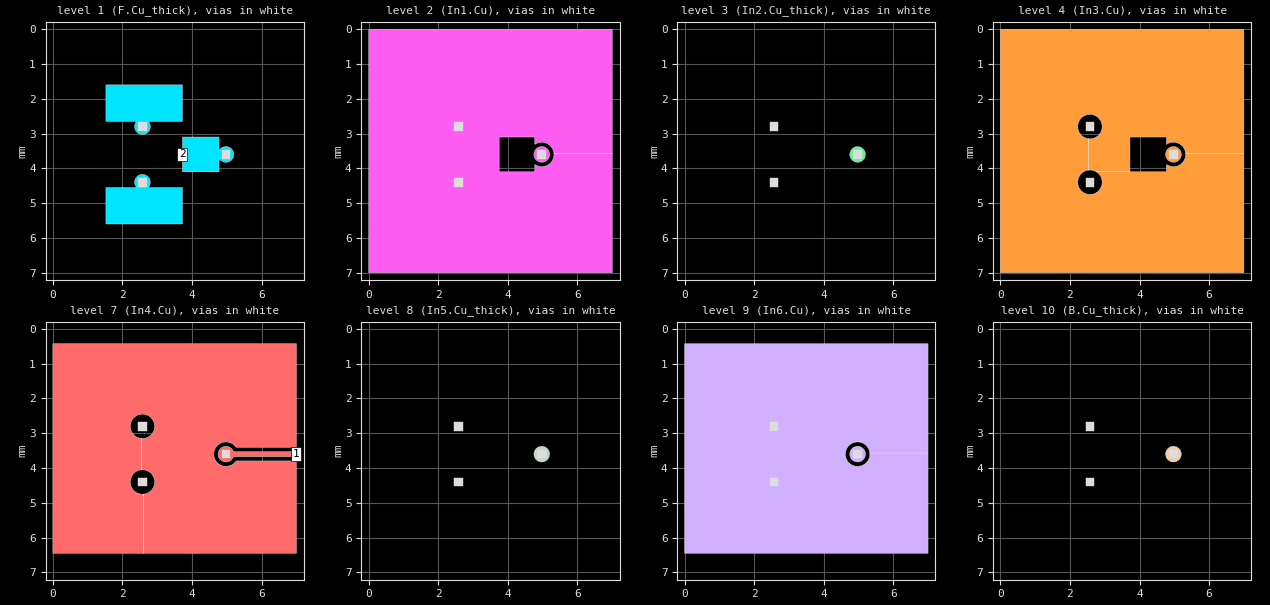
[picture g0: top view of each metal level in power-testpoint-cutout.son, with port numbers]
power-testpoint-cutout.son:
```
FTYP SONPROJ 19 ! Sonnet Project File
VER 18.52
HEADER
LIC antikernel2.1.51176
DAT 02/19/2022 08:50:57
BUILT_BY_CREATED dxf 18.52 12/15/2021 18:24:32
BUILT_BY_SAVED sonnet 18.52
MDATE 02/19/2022 08:32:56
HDATE 02/19/2022 08:32:56
ANN Created by dxfgeo, Sonnet Software Inc.
ANN 
ANN sma-gtx-cropped_gk:
ANN 
ANN replaced single 100000 pF ideal capacitor with two 50000 pf capacitors at the outer edges of the pads
ANN had to add 1 cell polygons to pads on F.Cu_thick ayer to attach the components
ANN had to add 2-cell polygons to ground on In1.Cu layer to attach the grounds to
ANN component port cal standards at defaul
ANN changed port 1 and port to cal standards to default
ANN 
ANN _gk2:
ANN 
ANN removed ideal components and 1-cell and 2-cell polygons
ANN defined new SheetCap Tech layer and metal type,with Xdc set to variable Xcap
ANN Xcap is an equation defined to produce the reactance of a 100000 pF capacitor
ANN 
ANN 
ANN 
END HEADER
DIM
ANG DEG
CAP PF
CON /OH
FREQ GHZ
IND NH
LNG MM
RES OH
END DIM
CONTROL
VARSWP
OPTIONS  -dj
SPEED 1
CACHE_ABS 2
Q_ACC N
END CONTROL
GEO
TMET "Free Space" 0 FREESPACE 376.7303136 0 0 0
BMET "Lossless" 0 SUP 0 0 0 0
MET "Copper_1oz_thin" 1 NOR 58000000 0.5 0.035 
MET "Copper_1oz_thick" 2 TMM 58000000 0.5 0.035 2
MET "Copper_0.5oz_thin" 4 NOR 58000000 0.5 0.017 
MET "Copper_0.5oz_thick" 12 TMM 58000000 0.5 0.017 2
MET "Copper_0.5oz_thick_down" 5 TMM 58000000 0.5 0.017 2 CDVY TDWN
MET "Copper_1oz_thick_down" 3 TMM 58000000 0.5 0.035 2 CDVY TDWN
MET "SheetCap" 25 SUP 0 0 "Xcap" 0
BOX 12 7 7 560 560 20 0
      5 1 1 0 0 0 0 "Air"
      0.04 3.5 1 0.025 0 0 0 "Soldermask"
      0.075 3.39 1 0.004 0 0 0 "Panasonic_R-5775(G)"
      0.068 3.56 1 0.004 0 0 0 "Panasonic_R-5670(G)"
      0.13 3.39 1 0.004 0 0 0 "Panasonic_R-5775(G)"
      0.092 3.56 1 0.004 0 0 0 "Panasonic_R-5670(G)"
      0.609 3.39 1 0.004 0 0 0 "Panasonic_R-5775(G)"
      0.092 3.56 1 0.004 0 0 0 "Panasonic_R-5670(G)"
      0.13 3.39 1 0.004 0 0 0 "Panasonic_R-5775(G)"
      0.068 3.56 1 0.004 0 0 0 "Panasonic_R-5670(G)"
      0.075 3.39 1 0.004 0 0 0 "Panasonic_R-5775(G)"
      0.04 3.5 1 0.025 0 0 0 "Soldermask"
      5 1 1 0 0 0 0 "Air"
TECHLAY METAL F.Cu_thick L1D0 -2 -65534 CAD F.Cu_thick drawing 
1 0 1 N 23087 1 1 100 100 0 0 0 Y
END
END
TECHLAY VIA Via1 L9D0 -13 -65534 CAD Via1 drawing 
VIA POLYGON
1 0 -1 N 23091 1 1 100 100 0 0 0 Y
TOLEVEL 10 RING NOCOVERS
END
END
TECHLAY METAL F.Cu_thin <UNSPECIFIED> -1 -65534 CAD F.Cu_thin drawing 
1 0 0 N 23093 1 1 100 100 0 0 0 Y
END
END
TECHLAY METAL SheetCap <UNSPECIFIED> -14 -65534 
1 0 6 N 23095 1 1 100 100 0 0 0 Y
END
END
TECHLAY METAL In1.Cu L2D0 -3 -65534 CAD In1.Cu drawing 
2 0 0 N 23098 1 1 100 100 0 0 0 Y
END
END
TECHLAY METAL In2.Cu_thick L3D0 -5 -65534 CAD In2.Cu_thick drawing 
3 0 3 N 23101 1 1 100 100 0 0 0 Y
END
END
TECHLAY METAL In2.Cu_thin <UNSPECIFIED> -4 -65534 CAD In2.Cu drawing 
3 0 2 N 23103 1 1 100 100 0 0 0 Y
END
END
TECHLAY METAL In3.Cu L4D0 -6 -65534 CAD In3.Cu drawing 
4 0 0 N 23106 1 1 100 100 0 0 0 Y
END
END
TECHLAY METAL In4.Cu L5D0 -7 -65534 CAD In4.Cu drawing 
7 0 0 N 23111 1 1 100 100 0 0 0 Y
END
END
TECHLAY METAL In5.Cu_thick L6D0 -9 -65534 CAD In5.Cu_thick drawing 
8 0 4 N 23115 1 1 100 100 0 0 0 Y
END
END
TECHLAY METAL In5.Cu_thin <UNSPECIFIED> -8 -65534 CAD In5.Cu drawing 
8 0 2 N 23117 1 1 100 100 0 0 0 Y
END
END
TECHLAY METAL In6.Cu L7D0 -10 -65534 CAD In6.Cu drawing 
9 0 0 N 23120 1 1 100 100 0 0 0 Y
END
END
TECHLAY METAL B.Cu_thick L8D0 -12 -65534 CAD B.Cu_thick drawing 
10 0 5 N 23123 1 1 100 100 0 0 0 Y
END
END
TECHLAY METAL B.Cu_thin <UNSPECIFIED> -11 -65534 CAD B.Cu_thin drawing 
10 0 0 N 23125 1 1 100 100 0 0 0 Y
END
END
VALVAR Xcap NONE "-1/(2*PI*FREQ*1e5*1e-12)" "Reactance of 100000 pF Capacitor"
DIM STD XDIR 1
POS 0.8728070175 -0.1789473684
NOM 1.025
REF1 POLY 23068 1
27
REF2 POLY 23068 1
28
END
DIM STD YDIR 1
POS -0.1096491228 0.65
NOM 1
REF1 POLY 23068 1
27
REF2 POLY 23068 1
26
END
LORGN 0 7 U 
POR1 CUP Auto
GNDREF AUTO
TERMW FEED
POLY 642 1
0
2 50 0 0 0 3.725 3.6 
CUPGRP "Auto" LOCAL
ID 23089
END
POR1 BOX
POLY 22985 1
13
1 50 0 0 0 7 3.6 
NUM 17
1 61 1 N 642 1 1 100 100 0 0 0 Y
TLAYNAM F.Cu_thick INH
USER_DAT FromImport
3.725 4.1
3.725 3.1
4.775 3.1
4.775 3.498
4.782 3.484
4.794 3.466
4.808 3.449
4.824 3.433
4.841 3.419
4.859 3.407
4.879 3.397
4.899 3.388
4.92 3.382
4.942 3.377
4.964 3.375
4.986 3.375
5.008 3.377
5.03 3.382
5.051 3.388
5.071 3.397
5.091 3.407
5.109 3.419
5.126 3.433
5.142 3.449
5.156 3.466
5.168 3.484
5.178 3.504
5.187 3.524
5.193 3.545
5.198 3.567
5.2 3.589
5.2 3.611
5.198 3.633
5.193 3.655
5.187 3.676
5.178 3.696
5.168 3.716
5.156 3.734
5.142 3.751
5.126 3.767
5.109 3.781
5.091 3.793
5.071 3.803
5.051 3.812
5.03 3.818
5.008 3.823
4.986 3.825
4.964 3.825
4.942 3.823
4.92 3.818
4.899 3.812
4.879 3.803
4.859 3.793
4.841 3.781
4.824 3.767
4.808 3.751
4.794 3.734
4.782 3.716
4.775 3.702
4.775 4.1
3.725 4.1
END
1 53 1 N 651 1 1 100 100 0 0 0 Y
TLAYNAM F.Cu_thick INH
USER_DAT FromImport
2.564 3.025
2.542 3.023
2.52 3.018
2.499 3.012
2.479 3.003
2.459 2.993
2.441 2.981
2.424 2.967
2.408 2.951
2.394 2.934
2.382 2.916
2.372 2.896
2.363 2.876
2.357 2.855
2.352 2.833
2.35 2.811
2.35 2.789
2.352 2.767
2.357 2.745
2.363 2.724
2.372 2.704
2.382 2.684
2.394 2.666
2.407 2.65
1.525 2.65
1.525 1.6
3.725 1.6
3.725 2.65
2.743 2.65
2.756 2.666
2.768 2.684
2.778 2.704
2.787 2.724
2.793 2.745
2.798 2.767
2.8 2.789
2.8 2.811
2.798 2.833
2.793 2.855
2.787 2.876
2.778 2.896
2.768 2.916
2.756 2.934
2.742 2.951
2.726 2.967
2.709 2.981
2.691 2.993
2.671 3.003
2.651 3.012
2.63 3.018
2.608 3.023
2.586 3.025
2.564 3.025
END
1 53 1 N 670 1 1 100 100 0 0 0 Y
TLAYNAM F.Cu_thick INH
USER_DAT FromImport
1.525 5.6
1.525 4.55
2.407 4.55
2.394 4.534
2.382 4.516
2.372 4.496
2.363 4.476
2.357 4.455
2.352 4.433
2.35 4.411
2.35 4.389
2.352 4.367
2.357 4.345
2.363 4.324
2.372 4.304
2.382 4.284
2.394 4.266
2.408 4.249
2.424 4.233
2.441 4.219
2.459 4.207
2.479 4.197
2.499 4.188
2.52 4.182
2.542 4.177
2.564 4.175
2.586 4.175
2.608 4.177
2.63 4.182
2.651 4.188
2.671 4.197
2.691 4.207
2.709 4.219
2.726 4.233
2.742 4.249
2.756 4.266
2.768 4.284
2.778 4.304
2.787 4.324
2.793 4.345
2.798 4.367
2.8 4.389
2.8 4.411
2.798 4.433
2.793 4.455
2.787 4.476
2.778 4.496
2.768 4.516
2.756 4.534
2.743 4.55
3.725 4.55
3.725 5.6
1.525 5.6
END
VIA POLYGON
1 5 -1 N 21327 1 1 100 100 0 0 0 Y
TOLEVEL 10 RING NOCOVERS
TLAYNAM Via1 INH
USER_DAT FromImport
2.45 4.525
2.45 4.275
2.7 4.275
2.7 4.525
2.45 4.525
END
VIA POLYGON
1 5 -1 N 21357 1 1 100 100 0 0 0 Y
TOLEVEL 10 RING NOCOVERS
TLAYNAM Via1 INH
USER_DAT FromImport
4.85 3.725
4.85 3.475
5.1 3.475
5.1 3.725
4.85 3.725
END
VIA POLYGON
1 5 -1 N 21374 1 1 100 100 0 0 0 Y
TOLEVEL 10 RING NOCOVERS
TLAYNAM Via1 INH
USER_DAT FromImport
2.45 2.925
2.45 2.675
2.7 2.675
2.7 2.925
2.45 2.925
END
2 65 0 N 2996 1 1 100 100 0 0 0 Y
TLAYNAM In1.Cu INH
USER_DAT FromImport
4.964 3.825
4.942 3.823
4.92 3.818
4.899 3.812
4.879 3.803
4.859 3.793
4.841 3.781
4.824 3.767
4.808 3.751
4.794 3.734
4.782 3.716
4.772 3.696
4.763 3.676
4.757 3.655
4.752 3.633
4.75 3.611
4.75 3.589
4.752 3.567
4.757 3.545
4.763 3.524
4.772 3.504
4.782 3.484
4.794 3.466
4.808 3.449
4.824 3.433
4.841 3.419
4.859 3.407
4.879 3.397
4.899 3.388
4.92 3.382
4.942 3.377
4.964 3.375
4.986 3.375
5.008 3.377
5.03 3.382
5.051 3.388
5.071 3.397
5.091 3.407
5.109 3.419
5.126 3.433
5.142 3.449
5.156 3.466
5.168 3.484
5.178 3.504
5.187 3.524
5.193 3.545
5.198 3.567
5.2 3.589
5.2 3.611
5.198 3.633
5.193 3.655
5.187 3.676
5.178 3.696
5.168 3.716
5.156 3.734
5.142 3.751
5.126 3.767
5.109 3.781
5.091 3.793
5.071 3.803
5.051 3.812
5.03 3.818
5.008 3.823
4.986 3.825
4.964 3.825
END
2 56 0 N 23068 1 1 100 100 0 0 0 Y
TLAYNAM In1.Cu INH
7 6.425
7 3.568
5.325 3.568
5.325 3.638
5.312 3.701
5.298 3.734
5.298 3.735
5.296 3.739
5.296 3.74
5.294 3.744
5.292 3.749
5.282 3.771
5.282 3.772
5.247 3.823
5.201 3.869
5.135 3.914
5.134 3.914
5.084 3.935
5.082 3.935
5.007 3.95
4.937 3.95
4.876 3.937
4.804 3.907
4.803 3.907
4.775 3.887784314
4.775 4.1
3.75 4.1
3.75 3.1
4.775 3.1
4.775 3.313272727
4.815 3.286
4.816 3.286
4.866 3.265
4.868 3.265
4.943 3.25
5.013 3.25
5.074 3.263
5.146 3.293
5.147 3.293
5.198 3.328
5.244 3.374
5.289 3.44
5.289 3.441
5.31 3.491
5.31 3.493
5.325 3.568
7 3.568
7 3.568
7 0.425
7 0
0 0
0 0.425
0 6.425
0 7
7 7
7 6.425
END
3 65 3 N 4636 1 1 100 100 0 0 0 Y
TLAYNAM In2.Cu_thick INH
USER_DAT FromImport
4.964 3.825
4.942 3.823
4.92 3.818
4.899 3.812
4.879 3.803
4.859 3.793
4.841 3.781
4.824 3.767
4.808 3.751
4.794 3.734
4.782 3.716
4.772 3.696
4.763 3.676
4.757 3.655
4.752 3.633
4.75 3.611
4.75 3.589
4.752 3.567
4.757 3.545
4.763 3.524
4.772 3.504
4.782 3.484
4.794 3.466
4.808 3.449
4.824 3.433
4.841 3.419
4.859 3.407
4.879 3.397
4.899 3.388
4.92 3.382
4.942 3.377
4.964 3.375
4.986 3.375
5.008 3.377
5.03 3.382
5.051 3.388
5.071 3.397
5.091 3.407
5.109 3.419
5.126 3.433
5.142 3.449
5.156 3.466
5.168 3.484
5.178 3.504
5.187 3.524
5.193 3.545
5.198 3.567
5.2 3.589
5.2 3.611
5.198 3.633
5.193 3.655
5.187 3.676
5.178 3.696
5.168 3.716
5.156 3.734
5.142 3.751
5.126 3.767
5.109 3.781
5.091 3.793
5.071 3.803
5.051 3.812
5.03 3.818
5.008 3.823
4.986 3.825
4.964 3.825
END
4 65 0 N 8440 1 1 100 100 0 0 0 Y
TLAYNAM In3.Cu INH
USER_DAT FromImport
4.964 3.825
4.942 3.823
4.92 3.818
4.899 3.812
4.879 3.803
4.859 3.793
4.841 3.781
4.824 3.767
4.808 3.751
4.794 3.734
4.782 3.716
4.772 3.696
4.763 3.676
4.757 3.655
4.752 3.633
4.75 3.611
4.75 3.589
4.752 3.567
4.757 3.545
4.763 3.524
4.772 3.504
4.782 3.484
4.794 3.466
4.808 3.449
4.824 3.433
4.841 3.419
4.859 3.407
4.879 3.397
4.899 3.388
4.92 3.382
4.942 3.377
4.964 3.375
4.986 3.375
5.008 3.377
5.03 3.382
5.051 3.388
5.071 3.397
5.091 3.407
5.109 3.419
5.126 3.433
5.142 3.449
5.156 3.466
5.168 3.484
5.178 3.504
5.187 3.524
5.193 3.545
5.198 3.567
5.2 3.589
5.2 3.611
5.198 3.633
5.193 3.655
5.187 3.676
5.178 3.696
5.168 3.716
5.156 3.734
5.142 3.751
5.126 3.767
5.109 3.781
5.091 3.793
5.071 3.803
5.051 3.812
5.03 3.818
5.008 3.823
4.986 3.825
4.964 3.825
END
4 143 0 N 23070 1 1 100 100 0 0 0 Y
TLAYNAM In3.Cu INH
USER_DAT FromImport
7 6.225
7 3.568
5.325 3.568
5.325 3.638
5.312 3.699
5.282 3.771
5.282 3.772
5.247 3.823
5.201 3.869
5.135 3.914
5.134 3.914
5.084 3.935
5.082 3.935
5.007 3.95
4.937 3.95
4.876 3.937
4.804 3.907
4.803 3.907
4.775 3.887784314
4.775 4.1
3.725 4.1
2.7572 4.1
2.798 4.128
2.844 4.174
2.889 4.24
2.889 4.241
2.91 4.291
2.91 4.293
2.925 4.368
2.925 4.438
2.912 4.499
2.882 4.571
2.882 4.572
2.847 4.623
2.801 4.669
2.735 4.714
2.734 4.714
2.684 4.735
2.682 4.735
2.607 4.75
2.537 4.75
2.476 4.737
2.404 4.707
2.403 4.707
2.352 4.672
2.306 4.626
2.261 4.56
2.261 4.559
2.24 4.509
2.24 4.507
2.225 4.432
2.225 4.362
2.238 4.301
2.268 4.229
2.268 4.228
2.303 4.177
2.349 4.131
2.415 4.086
2.416 4.086
2.466 4.065
2.468 4.065
2.543 4.05
2.543 3.15
2.537 3.15
2.476 3.137
2.404 3.107
2.403 3.107
2.352 3.072
2.306 3.026
2.261 2.96
2.261 2.959
2.24 2.909
2.24 2.907
2.225 2.832
2.225 2.762
2.238 2.701
2.268 2.629
2.268 2.628
2.303 2.577
2.349 2.531
2.415 2.486
2.416 2.486
2.466 2.465
2.468 2.465
2.543 2.45
2.613 2.45
2.674 2.463
2.746 2.493
2.747 2.493
2.798 2.528
2.844 2.574
2.889 2.64
2.889 2.641
2.91 2.691
2.91 2.693
2.925 2.768
2.925 2.838
2.912 2.899
2.882 2.971
2.882 2.972
2.847 3.023
2.801 3.069
2.735 3.114
2.734 3.114
2.684 3.135
2.682 3.135
2.607 3.15
2.543 3.15
2.543 4.05
2.613 4.05
2.674 4.063
2.746 4.093
2.747 4.093
2.7572 4.1
3.725 4.1
3.725 3.1
4.775 3.1
4.775 3.313272727
4.815 3.286
4.816 3.286
4.866 3.265
4.868 3.265
4.943 3.25
5.013 3.25
5.074 3.263
5.146 3.293
5.147 3.293
5.198 3.328
5.244 3.374
5.289 3.44
5.289 3.441
5.31 3.491
5.31 3.493
5.325 3.568
7 3.568
7 3.568
7 0
0 0
0 2.832
0 6.225
0 7
7 7
7 6.225
END
7 63 0 N 22985 1 1 100 100 0 0 0 Y
TLAYNAM In4.Cu INH
USER_DAT FromImport
5.008 3.823
5.03 3.818
5.051 3.812
5.071 3.803
5.091 3.793
5.109 3.781
5.126 3.767
5.142 3.751
5.156 3.734
5.168 3.716
5.178 3.696
5.187 3.676
5.189 3.67
7 3.67
7 3.53
5.189 3.53
5.187 3.524
5.178 3.504
5.168 3.484
5.156 3.466
5.142 3.449
5.126 3.433
5.109 3.419
5.091 3.407
5.071 3.397
5.051 3.388
5.03 3.382
5.008 3.377
4.986 3.375
4.964 3.375
4.942 3.377
4.92 3.382
4.899 3.388
4.879 3.397
4.859 3.407
4.841 3.419
4.824 3.433
4.808 3.449
4.794 3.466
4.782 3.484
4.772 3.504
4.763 3.524
4.757 3.545
4.752 3.567
4.75 3.589
4.75 3.611
4.752 3.633
4.757 3.655
4.763 3.676
4.772 3.696
4.782 3.716
4.794 3.734
4.808 3.751
4.824 3.767
4.841 3.781
4.859 3.793
4.879 3.803
4.899 3.812
4.92 3.818
4.942 3.823
4.964 3.825
4.986 3.825
5.008 3.823
END
7 153 0 N 22993 1 1 100 100 0 0 0 Y
TLAYNAM In4.Cu INH
USER_DAT FromImport
7 3.795
5.285 3.795
5.28 3.796
5.275 3.798
5.271 3.8
5.266 3.802
5.258 3.808
5.255 3.811
5.249 3.819
5.248 3.821
5.248 3.822
5.201 3.869
5.135 3.914
5.134 3.914
5.084 3.935
5.082 3.935
5.007 3.95
4.937 3.95
4.876 3.937
4.804 3.907
4.803 3.907
4.752 3.872
4.706 3.826
4.661 3.76
4.661 3.759
4.64 3.709
4.64 3.707
4.625 3.632
4.625 3.562
4.638 3.501
4.668 3.429
4.668 3.428
4.703 3.377
4.749 3.331
4.815 3.286
4.816 3.286
4.866 3.265
4.868 3.265
4.943 3.25
5.013 3.25
5.074 3.263
5.146 3.293
5.147 3.293
5.198 3.328
5.244 3.375
5.249 3.381
5.255 3.389
5.258 3.392
5.266 3.398
5.271 3.4
5.275 3.402
5.28 3.404
5.285 3.405
7 3.405
7 0.425
0 0.425
0 6.45
2.607 6.45
2.607 4.75
2.537 4.75
2.476 4.737
2.404 4.707
2.403 4.707
2.352 4.672
2.306 4.626
2.261 4.56
2.261 4.559
2.24 4.509
2.24 4.507
2.225 4.432
2.225 4.362
2.238 4.301
2.268 4.229
2.268 4.228
2.303 4.177
2.349 4.131
2.415 4.086
2.416 4.086
2.466 4.065
2.468 4.065
2.543 4.05
2.543 3.15
2.537 3.15
2.476 3.137
2.404 3.107
2.403 3.107
2.352 3.072
2.306 3.026
2.261 2.96
2.261 2.959
2.24 2.909
2.24 2.907
2.225 2.832
2.225 2.762
2.238 2.701
2.268 2.629
2.268 2.628
2.303 2.577
2.349 2.531
2.415 2.486
2.416 2.486
2.466 2.465
2.468 2.465
2.543 2.45
2.613 2.45
2.674 2.463
2.746 2.493
2.747 2.493
2.798 2.528
2.844 2.574
2.889 2.64
2.889 2.641
2.91 2.691
2.91 2.693
2.925 2.768
2.925 2.838
2.912 2.899
2.882 2.971
2.882 2.972
2.847 3.023
2.801 3.069
2.735 3.114
2.734 3.114
2.684 3.135
2.682 3.135
2.607 3.15
2.543 3.15
2.543 4.05
2.613 4.05
2.674 4.063
2.746 4.093
2.747 4.093
2.798 4.128
2.844 4.174
2.889 4.24
2.889 4.241
2.91 4.291
2.91 4.293
2.925 4.368
2.925 4.438
2.912 4.499
2.882 4.571
2.882 4.572
2.847 4.623
2.801 4.669
2.735 4.714
2.734 4.714
2.684 4.735
2.682 4.735
2.607 4.75
2.607 6.45
7 6.45
7 3.795
END
8 65 4 N 14824 1 1 100 100 0 0 0 Y
TLAYNAM In5.Cu_thick INH
USER_DAT FromImport
4.964 3.825
4.942 3.823
4.92 3.818
4.899 3.812
4.879 3.803
4.859 3.793
4.841 3.781
4.824 3.767
4.808 3.751
4.794 3.734
4.782 3.716
4.772 3.696
4.763 3.676
4.757 3.655
4.752 3.633
4.75 3.611
4.75 3.589
4.752 3.567
4.757 3.545
4.763 3.524
4.772 3.504
4.782 3.484
4.794 3.466
4.808 3.449
4.824 3.433
4.841 3.419
4.859 3.407
4.879 3.397
4.899 3.388
4.92 3.382
4.942 3.377
4.964 3.375
4.986 3.375
5.008 3.377
5.03 3.382
5.051 3.388
5.071 3.397
5.091 3.407
5.109 3.419
5.126 3.433
5.142 3.449
5.156 3.466
5.168 3.484
5.178 3.504
5.187 3.524
5.193 3.545
5.198 3.567
5.2 3.589
5.2 3.611
5.198 3.633
5.193 3.655
5.187 3.676
5.178 3.696
5.168 3.716
5.156 3.734
5.142 3.751
5.126 3.767
5.109 3.781
5.091 3.793
5.071 3.803
5.051 3.812
5.03 3.818
5.008 3.823
4.986 3.825
4.964 3.825
END
9 65 0 N 17402 1 1 100 100 0 0 0 Y
TLAYNAM In6.Cu INH
USER_DAT FromImport
4.964 3.825
4.942 3.823
4.92 3.818
4.899 3.812
4.879 3.803
4.859 3.793
4.841 3.781
4.824 3.767
4.808 3.751
4.794 3.734
4.782 3.716
4.772 3.696
4.763 3.676
4.757 3.655
4.752 3.633
4.75 3.611
4.75 3.589
4.752 3.567
4.757 3.545
4.763 3.524
4.772 3.504
4.782 3.484
4.794 3.466
4.808 3.449
4.824 3.433
4.841 3.419
4.859 3.407
4.879 3.397
4.899 3.388
4.92 3.382
4.942 3.377
4.964 3.375
4.986 3.375
5.008 3.377
5.03 3.382
5.051 3.388
5.071 3.397
5.091 3.407
5.109 3.419
5.126 3.433
5.142 3.449
5.156 3.466
5.168 3.484
5.178 3.504
5.187 3.524
5.193 3.545
5.198 3.567
5.2 3.589
5.2 3.611
5.198 3.633
5.193 3.655
5.187 3.676
5.178 3.696
5.168 3.716
5.156 3.734
5.142 3.751
5.126 3.767
5.109 3.781
5.091 3.793
5.071 3.803
5.051 3.812
5.03 3.818
5.008 3.823
4.986 3.825
4.964 3.825
END
9 58 0 N 22994 1 1 100 100 0 0 0 Y
TLAYNAM In6.Cu INH
USER_DAT FromImport
7 0.425
0 0.425
0 6.45
7 6.45
7 3.568
5.325 3.568
5.325 3.638
5.312 3.701
5.298 3.734
5.298 3.735
5.296 3.739
5.296 3.74
5.294 3.744
5.292 3.749
5.282 3.771
5.282 3.772
5.247 3.823
5.201 3.869
5.135 3.914
5.134 3.914
5.084 3.935
5.082 3.935
5.007 3.95
4.937 3.95
4.876 3.937
4.804 3.907
4.803 3.907
4.752 3.872
4.706 3.826
4.661 3.76
4.661 3.759
4.64 3.709
4.64 3.707
4.625 3.632
4.625 3.562
4.638 3.501
4.668 3.429
4.668 3.428
4.703 3.377
4.749 3.331
4.815 3.286
4.816 3.286
4.866 3.265
4.868 3.265
4.943 3.25
5.013 3.25
5.074 3.263
5.146 3.293
5.147 3.293
5.198 3.328
5.244 3.374
5.289 3.44
5.289 3.441
5.31 3.491
5.31 3.493
5.325 3.568
7 3.568
7 0.425
END
10 65 5 N 18997 1 1 100 100 0 0 0 Y
TLAYNAM B.Cu_thick INH
USER_DAT FromImport
4.964 3.825
4.942 3.823
4.92 3.818
4.899 3.812
4.879 3.803
4.859 3.793
4.841 3.781
4.824 3.767
4.808 3.751
4.794 3.734
4.782 3.716
4.772 3.696
4.763 3.676
4.757 3.655
4.752 3.633
4.75 3.611
4.75 3.589
4.752 3.567
4.757 3.545
4.763 3.524
4.772 3.504
4.782 3.484
4.794 3.466
4.808 3.449
4.824 3.433
4.841 3.419
4.859 3.407
4.879 3.397
4.899 3.388
4.92 3.382
4.942 3.377
4.964 3.375
4.986 3.375
5.008 3.377
5.03 3.382
5.051 3.388
5.071 3.397
5.091 3.407
5.109 3.419
5.126 3.433
5.142 3.449
5.156 3.466
5.168 3.484
5.178 3.504
5.187 3.524
5.193 3.545
5.198 3.567
5.2 3.589
5.2 3.611
5.198 3.633
5.193 3.655
5.187 3.676
5.178 3.696
5.168 3.716
5.156 3.734
5.142 3.751
5.126 3.767
5.109 3.781
5.091 3.793
5.071 3.803
5.051 3.812
5.03 3.818
5.008 3.823
4.986 3.825
4.964 3.825
END
END GEO
OPT
MAX 0
END OPT
VARSWP
ENABLED Y
FREQ Y AY ABS_ENTRY 0.001 16.0 -1 300 
END
END VARSWP
```
